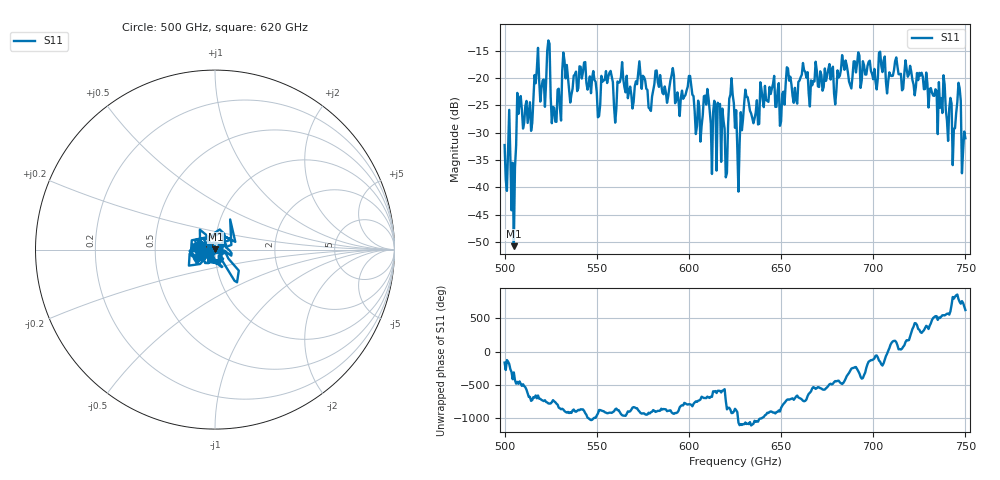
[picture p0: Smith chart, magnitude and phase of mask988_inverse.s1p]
!Created with skrf (http://scikit-rf.org).
# GHz S MA R 50.0
!freq magS11 angS11
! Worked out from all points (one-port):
!   401 points, 500 GHz to 750 GHz, reference 50 ohm
!   lowest |S11| = -50.8 dB at 505 GHz (marker M1), VSWR 1.01, Z = 50.2 + j0.222 ohm
!   |S11| at or under -10 dB: start of sweep to end of sweep
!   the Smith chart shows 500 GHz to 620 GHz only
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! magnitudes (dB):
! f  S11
! 500 GHz  -32.3
! 505 GHz  -50.8
! 508.1 GHz  -24.6
! 513.8 GHz  -24.5
! 517.5 GHz  -18.3
! 520.6 GHz  -20.5
! 523.8 GHz  -13.2
! 526.9 GHz  -25.5
! 531.2 GHz  -18.7
! 542.5 GHz  -19.0
! 550.6 GHz  -27.2
! 562.5 GHz  -20.8
! 590.6 GHz  -19.5
! 593.8 GHz  -22.7
! 600.6 GHz  -19.6
! 605 GHz  -24.2
! 609.4 GHz  -24.9
! 620 GHz  -38.2
! 623.1 GHz  -20.1
! 625 GHz  -29.1
! 627.5 GHz  -32.0
! 631.2 GHz  -23.4
! 656.2 GHz  -23.3
! 687.5 GHz  -21.3
! 718.8 GHz  -19.8
! 743.8 GHz  -29.3
! 746.2 GHz  -20.9
! 750 GHz  -31.0
